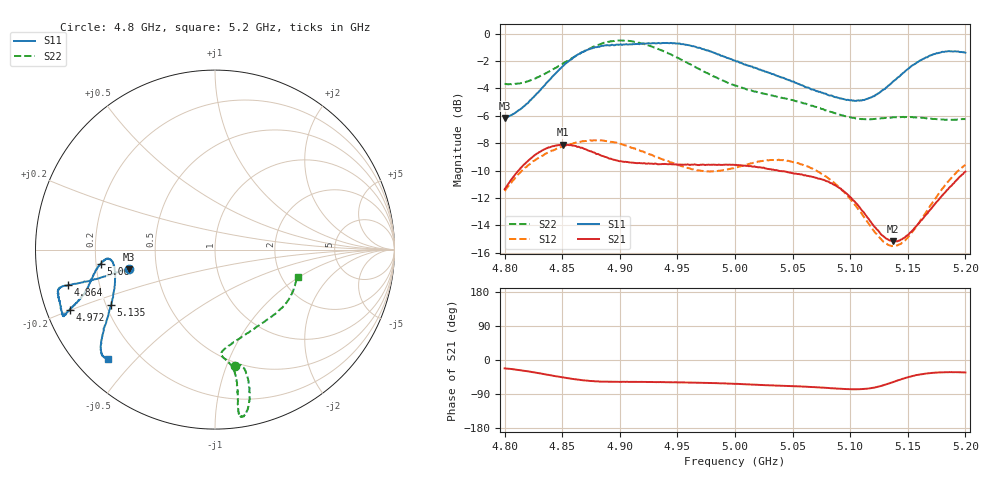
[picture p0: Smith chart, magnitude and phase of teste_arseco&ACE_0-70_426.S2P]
! Network Analyzer HP8722D
! Hewlett-Packard
! Data name: Linha & Wilkinson
! Saver's name: Rodrigo Anjos
! Comments: Teste da utilização de aquisição
! continua pelo VNA HP8722D
! Time and date: 8/5/2025 16:18
!  Frequency  S11  S21  S12  S22
# HZ  S  MA R 50
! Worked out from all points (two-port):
!   401 points, 4.8 GHz to 5.2 GHz, reference 50 ohm
!   highest |S21| = -8.10 dB at 4.851 GHz (marker M1); lowest = -15.2 dB at 5.137 GHz (marker M2)
!   |S21| within 3 dB of the highest: 4.802 GHz to 5.087 GHz (285.3 MHz wide, 5.77 % of centre); 5.187976 GHz to end of sweep
!   lowest |S11| = -6.2 dB at 4.8 GHz (marker M3), VSWR 2.94, Z = 17.2 - j5.02 ohm
!   |S11| at or under -10 dB: nowhere
!   |S22| runs from -6.3 to -0.5 dB; largest |S21 - S12| = 0.62
!   S11 on the Smith chart (normalised r, x): 4.8 GHz: 0.34, -0.10; 4.864 GHz: 0.09, -0.12; 4.972 GHz: 0.07, -0.20; 5.06 GHz: 0.22, -0.06; 5.135 GHz: 0.22, -0.24; 5.2 GHz: 0.09, -0.42
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4.8e9  0.492 -167.0  0.2704 -22.0  0.2665 -143.2  0.6556 -80.2
4.827e9  0.5972 -166.5  0.3623 -33.4  0.3465 -147.6  0.6861 -76.1
4.851e9  0.7628 -166.2  0.3937 -46.2  0.3882 -151.8  0.7798 -75.9
4.864e9  0.8403 -166.4  0.3865 -52.0  0.4013 -153.7  0.8379 -76.7
4.867e9  0.8545 -166.4  0.3835 -53.2  0.4041 -154.2  0.8542 -76.9
4.898e9  0.9109 -163.7  0.344 -57.6  0.3975 -157.8  0.9415 -80.4
4.913e9  0.9149 -160.6  0.3378 -57.7  0.3812 -158.1  0.9314 -81.6
4.934e9  0.9238 -157.2  0.3337 -58.4  0.3524 -156.3  0.8746 -81.6
4.95e9  0.9194 -156.4  0.3327 -59.0  0.3318 -153.6  0.8162 -81.0
4.972e9  0.8772 -157.5  0.3329 -60.0  0.3155 -147.1  0.7308 -80.7
5e9  0.796 -160.2  0.3315 -63.1  0.3246 -138.4  0.6462 -82.2
5.036e9  0.7022 -166.9  0.3177 -67.6  0.3453 -136.2  0.589 -86.5
5.06e9  0.6418 -172.9  0.3038 -70.2  0.3303 -138.2  0.5558 -84.6
5.067e9  0.6253 -174.0  0.3001 -71.3  0.3223 -138.9  0.5454 -82.8
5.098e9  0.5735 -172.3  0.2583 -76.8  0.2547 -140.4  0.4969 -67.4
5.115e9  0.5782 -164.1  0.2133 -75.6  0.2054 -135.6  0.487 -55.2
5.134e9  0.6484 -152.7  0.1761 -61.8  0.1688 -117.3  0.4922 -42.5
5.135e9  0.6548 -152.0  0.1757 -60.7  0.1685 -115.9  0.4935 -42.0
5.137e9  0.6669 -151.1  0.1745 -58.5  0.168 -113.2  0.4949 -40.8
5.15e9  0.7413 -145.6  0.184 -45.8  0.1803 -97.2  0.4954 -33.9
5.17e9  0.8325 -139.9  0.229 -34.4  0.2371 -82.4  0.4895 -25.4
5.2e9  0.8511 -134.3  0.3136 -32.9  0.3319 -78.6  0.4872 -18.1
